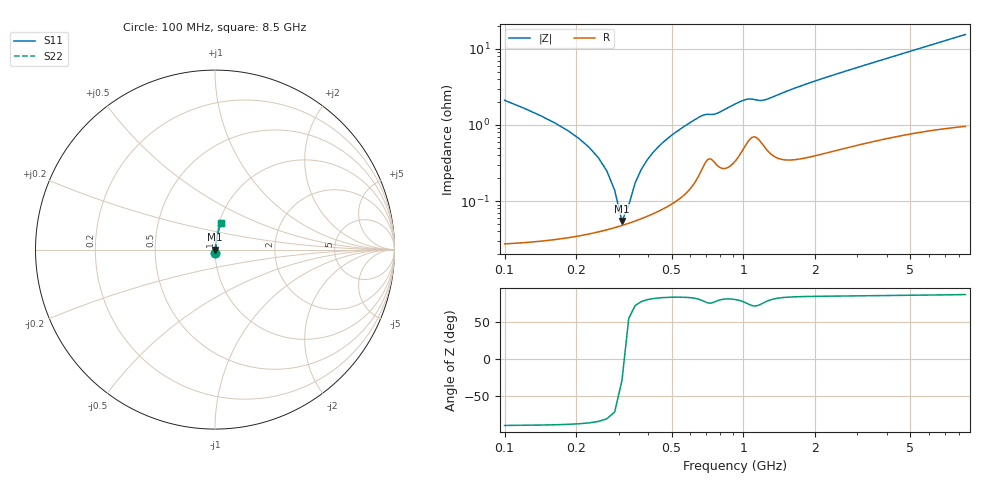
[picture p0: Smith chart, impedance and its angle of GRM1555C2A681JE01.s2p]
!Murata Part Number: GRM1555C2A681JE01
!These Parameters are Measured in Series Mode Connection
!Data Generated on Mar 30, 2021
!  o--ll--o
!Port1  Port2
!  o------o
!Operation Temp=25[degC], DC Bias Voltage=0[V]
!Freq. Start=100[MHz] Stop=9[GHz] 401[Steps]
# Hz S RI R 50
!Freq.(Hz) S11(Real) S11(Imag) S21(Real) S21(Imag) S12(Real) S12(Imag) S22(Real) S22(Imag)
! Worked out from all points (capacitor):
!   401 points, 100 MHz to 8.5 GHz, reference 50 ohm
!   read as one part in series: C = 679 pF near 142 MHz
!   lowest |Z| = 54.5 mohm at 310 MHz (marker M1)
!   series resonance near 315.7 MHz, so ESL is about 370 pH
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1e8  0.000716 -0.021  0.9993 0.021  0.9993 0.021  0.000716 -0.021
1.42e8  0.000469 -0.0131  0.9995 0.0131  0.9995 0.0131  0.000469 -0.0131
2.05e8  0.000391 -0.00661  0.9996 0.00661  0.9996 0.00661  0.000391 -0.00661
2.47e8  0.000406 -0.00368  0.9996 0.00368  0.9996 0.00368  0.000406 -0.00368
2.68e8  0.000424 -0.00244  0.9996 0.00244  0.9996 0.00244  0.000424 -0.00244
2.89e8  0.000448 -0.00131  0.9996 0.00131  0.9996 0.00131  0.000448 -0.00131
3.1e8  0.000477 -0.000263  0.9995 0.000263  0.9995 0.000263  0.000477 -0.000263
3.31e8  0.00051 0.000715  0.9995 -0.000715  0.9995 -0.000715  0.00051 0.000715
3.52e8  0.000548 0.00164  0.9995 -0.00164  0.9995 -0.00164  0.000548 0.00164
3.94e8  0.000637 0.00335  0.9994 -0.00335  0.9994 -0.00335  0.000637 0.00335
4.57e8  0.000808 0.00571  0.9992 -0.00571  0.9992 -0.00571  0.000808 0.00571
5.41e8  0.00115 0.00865  0.9989 -0.00865  0.9989 -0.00865  0.00115 0.00865
6.46e8  0.00221 0.0122  0.9978 -0.0122  0.9978 -0.0122  0.00221 0.0122
1.003e9  0.00531 0.0204  0.9947 -0.0204  0.9947 -0.0204  0.00531 0.0204
1.213e9  0.00573 0.0202  0.9943 -0.0202  0.9943 -0.0202  0.00573 0.0202
1.507e9  0.00419 0.0271  0.9958 -0.0271  0.9958 -0.0271  0.00419 0.0271
2.095e9  0.0056 0.0392  0.9944 -0.0392  0.9944 -0.0392  0.0056 0.0392
2.914e9  0.00824 0.0544  0.9918 -0.0544  0.9918 -0.0544  0.00824 0.0544
4.3e9  0.0132 0.0786  0.9868 -0.0786  0.9868 -0.0786  0.0132 0.0786
5.707e9  0.0188 0.1024  0.9812 -0.1024  0.9812 -0.1024  0.0188 0.1024
7.114e9  0.0251 0.1255  0.9749 -0.1255  0.9749 -0.1255  0.0251 0.1255
8.5e9  0.0321 0.1478  0.9679 -0.1478  0.9679 -0.1478  0.0321 0.1478
